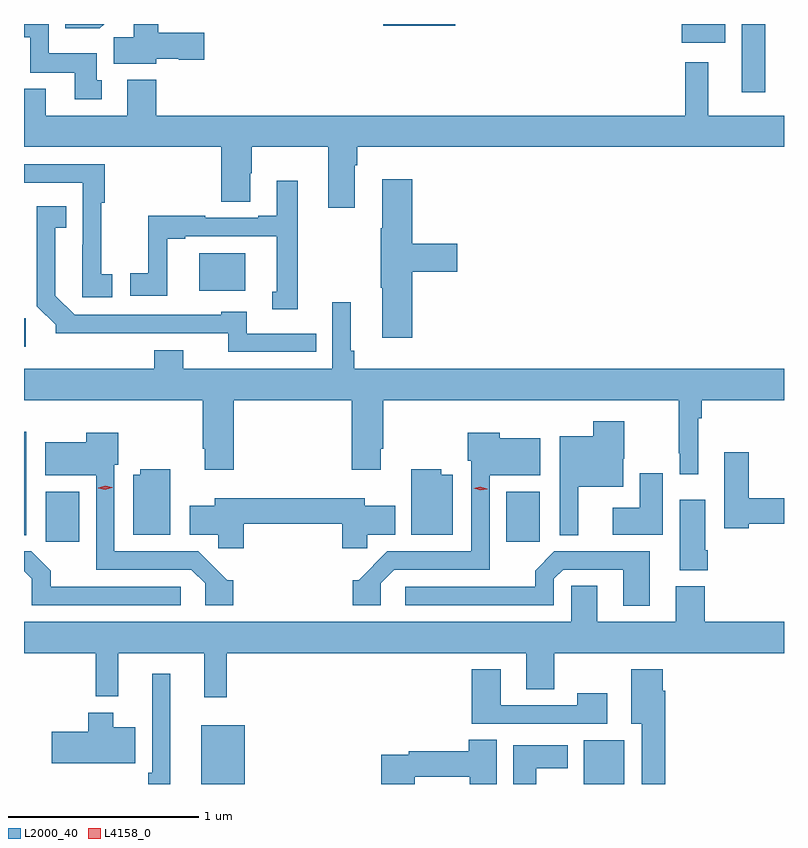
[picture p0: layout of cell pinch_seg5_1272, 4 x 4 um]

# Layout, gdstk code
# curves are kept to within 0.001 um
import gdstk
lib = gdstk.Library(unit=1e-6, precision=1e-09)
def R(c, l, rs):  # rectangles x0, y0, x1, y1
    for r in rs: c.add(gdstk.rectangle(r[:2], r[2:], *l))
def P(c, l, *ps):  # polygons
    for p in ps: c.add(gdstk.Polygon(p, *l))
L2000_40 = (2000, 40)
L4158_0 = (4158, 0)

pinch_seg5_1272 = lib.new_cell('pinch_seg5_1272')
R(pinch_seg5_1272, L2000_40, [(397.931,845.415,398.158,845.725), (399.944,845.415,400.156,845.644), (397.112,846.689,397.288,846.952), (399.536,846.689,399.712,846.952), (396.997,846.724,397.008,847.27), (396.997,847.716,397.007,847.867), (397.919,848.012,398.161,848.209), (400.775,849.057,400.897,849.415), (400.46,849.317,400.687,849.415), (398.888,849.406,399.268,849.415)])
P(pinch_seg5_1272, L2000_40, [(397.405,849.12),(397.381,849.12),(397.381,849.262),(397.128,849.262),(397.128,849.415),(396.997,849.415),(396.997,849.344),(397.03,849.344),(397.03,849.158),(397.265,849.158),(397.265,849.018),(397.405,849.018)],
  [(397.419,849.415),(397.213,849.415),(397.213,849.392),(397.396,849.392)],
  [(397.692,849.233),(397.812,849.233),(397.812,849.226),(397.945,849.226),(397.945,849.368),(397.704,849.368),(397.704,849.415),(397.574,849.415),(397.574,849.344),(397.469,849.344),(397.469,849.206),(397.692,849.206)],
  [(398.737,848.672),(398.75,848.672),(398.75,848.768),(400.997,848.768),(400.997,848.932),(400.597,848.932),(400.597,849.214),(400.476,849.214),(400.476,848.932),(397.694,848.932),(397.694,849.121),(397.541,849.121),(397.541,848.932),(397.111,848.932),(397.111,849.073),(396.997,849.073),(396.997,848.768),(398.036,848.768),(398.036,848.479),(398.188,848.479),(398.188,848.63),(398.196,848.63),(398.196,848.768),(398.597,848.768),(398.597,848.448),(398.737,848.448)],
  [(397.462,848.097),(397.404,848.097),(397.404,848.473),(397.421,848.473),(397.421,848.676),(396.997,848.676),(396.997,848.58),(397.305,848.58),(397.305,848.252),(397.304,848.252),(397.304,847.977),(397.462,847.977)],
  [(399.041,848.111),(399.277,848.111),(399.277,848.258),(399.041,848.258),(399.041,848.599),(398.882,848.599),(398.882,848.341),(398.875,848.341),(398.875,848.027),(398.882,848.027),(398.882,847.764),(399.041,847.764)],
  [(398.437,848.59),(398.327,848.59),(398.327,848.407),(398.231,848.407),(398.231,848.394),(397.952,848.394),(397.952,848.407),(397.651,848.407),(397.651,848.102),(397.557,848.102),(397.557,847.986),(397.75,847.986),(397.75,848.286),(397.846,848.286),(397.846,848.298),(398.327,848.298),(398.327,848.007),(398.303,848.007),(398.303,847.913),(398.437,847.913)],
  [(398.534,847.785),(398.17,847.785),(398.17,847.9),(398.034,847.9),(398.034,847.884),(397.263,847.884),(397.162,847.985),(397.162,848.342),(397.22,848.342),(397.22,848.455),(397.065,848.455),(397.065,847.93),(397.164,847.831),(397.164,847.787),(398.071,847.788),(398.071,847.689),(398.534,847.689)],
  [(400.546,847.34),(400.565,847.34),(400.565,847.436),(400.997,847.436),(400.997,847.6),(398.735,847.6),(398.735,847.696),(398.716,847.696),(398.716,847.951),(398.619,847.951),(398.619,847.6),(397.834,847.6),(397.834,847.699),(397.682,847.699),(397.682,847.6),(396.997,847.6),(396.997,847.436),(397.937,847.436),(397.937,847.18),(397.949,847.18),(397.949,847.068),(398.102,847.068),(398.102,847.436),(398.723,847.436),(398.723,847.068),(398.875,847.068),(398.875,847.18),(398.888,847.18),(398.888,847.436),(400.444,847.436),(400.444,847.156),(400.449,847.156),(400.449,847.044),(400.546,847.044)],
  [(399.914,846.98),(400.15,846.98),(400.15,847.128),(400.156,847.128),(400.156,847.324),(399.992,847.324),(399.992,847.246),(399.816,847.246),(399.816,846.724),(399.914,846.724)],
  [(398.098,846.487),(398.066,846.487),(397.914,846.639),(397.473,846.639),(397.473,847.095),(397.492,847.095),(397.492,847.264),(397.324,847.264),(397.324,847.213),(397.109,847.213),(397.109,847.04),(397.377,847.04),(397.377,846.543),(397.878,846.543),(397.95,846.471),(397.95,846.357),(398.098,846.357)],
  [(398.874,846.471),(398.946,846.543),(399.447,846.543),(399.447,847.04),(399.715,847.04),(399.715,847.234),(399.501,847.234),(399.501,847.264),(399.332,847.264),(399.332,847.116),(399.351,847.116),(399.351,846.639),(398.91,846.639),(398.758,846.487),(398.727,846.487),(398.727,846.357),(398.874,846.357)],
  [(400.812,846.784),(400.997,846.784),(400.997,846.92),(400.812,846.92),(400.812,847.162),(400.682,847.162),(400.682,846.761),(400.812,846.761)],
  [(399.253,847.042),(399.193,847.042),(399.193,847.072),(399.035,847.072),(399.035,846.728),(399.253,846.728)],
  [(397.768,847.072),(397.61,847.072),(397.61,847.042),(397.571,847.042),(397.571,846.728),(397.768,846.728)],
  [(400.36,847.051),(400.238,847.051),(400.238,846.868),(400.095,846.868),(400.095,846.728),(400.36,846.728)],
  [(398.153,846.784),(398.672,846.784),(398.672,846.656),(398.804,846.656),(398.804,846.728),(398.95,846.728),(398.95,846.88),(398.79,846.88),(398.79,846.92),(398,846.92),(398,846.88),(397.869,846.88),(397.869,846.728),(398.02,846.728),(398.02,846.656),(398.153,846.656)],
  [(400.595,846.646),(400.582,846.646),(400.582,846.91),(400.448,846.91),(400.448,846.541),(400.595,846.541)],
  [(400.291,846.639),(399.789,846.639),(399.688,846.537),(399.688,846.453),(399.003,846.453),(399.003,846.357),(399.786,846.357),(399.786,846.495),(399.834,846.543),(400.151,846.543),(400.151,846.354),(400.291,846.354)],
  [(397.822,846.453),(397.137,846.453),(397.137,846.537),(397.035,846.639),(396.997,846.639),(396.997,846.536),(397.038,846.495),(397.038,846.357),(397.822,846.357)],
  [(398.063,846.104),(399.641,846.104),(399.641,845.914),(399.789,845.914),(399.789,846.104),(400.997,846.104),(400.997,846.268),(400.58,846.268),(400.58,846.456),(400.427,846.456),(400.427,846.268),(400.015,846.268),(400.015,846.458),(399.876,846.458),(399.876,846.268),(396.997,846.268),(396.997,846.104),(397.375,846.104),(397.375,845.876),(397.493,845.876),(397.493,846.104),(397.946,846.104),(397.946,845.871),(398.063,845.871)],
  [(400.066,845.893),(399.91,845.893),(399.91,845.829),(399.505,845.829),(399.505,846.019),(399.353,846.019),(399.353,845.733),(400.066,845.733)],
  [(400.373,845.906),(400.36,845.906),(400.36,846.019),(400.193,846.019),(400.193,845.732),(400.247,845.732),(400.247,845.415),(400.373,845.415)],
  [(397.768,845.995),(397.671,845.995),(397.671,845.473),(397.651,845.473),(397.651,845.415),(397.768,845.415)],
  [(397.582,845.713),(397.468,845.713),(397.468,845.791),(397.334,845.791),(397.334,845.691),(397.143,845.691),(397.143,845.525),(397.582,845.525)],
  [(399.054,845.452),(399.343,845.452),(399.343,845.415),(399.484,845.415),(399.484,845.648),(399.338,845.648),(399.338,845.588),(399.022,845.588),(399.022,845.568),(398.876,845.568),(398.876,845.415),(399.054,845.415)],
  [(399.694,845.498),(399.859,845.498),(399.859,845.62),(399.572,845.62),(399.572,845.415),(399.694,845.415)])
P(pinch_seg5_1272, L4158_0, [(399.398,846.96),(399.363,846.972),(399.363,846.972),(399.363,846.972),(399.399,846.98),(399.434,846.968),(399.434,846.968),(399.434,846.967)],
  [(397.425,846.964),(397.389,846.972),(397.389,846.973),(397.389,846.973),(397.424,846.984),(397.461,846.976),(397.461,846.975),(397.461,846.975)])

lib.write_gds('pinch_seg5_1272.gds')
